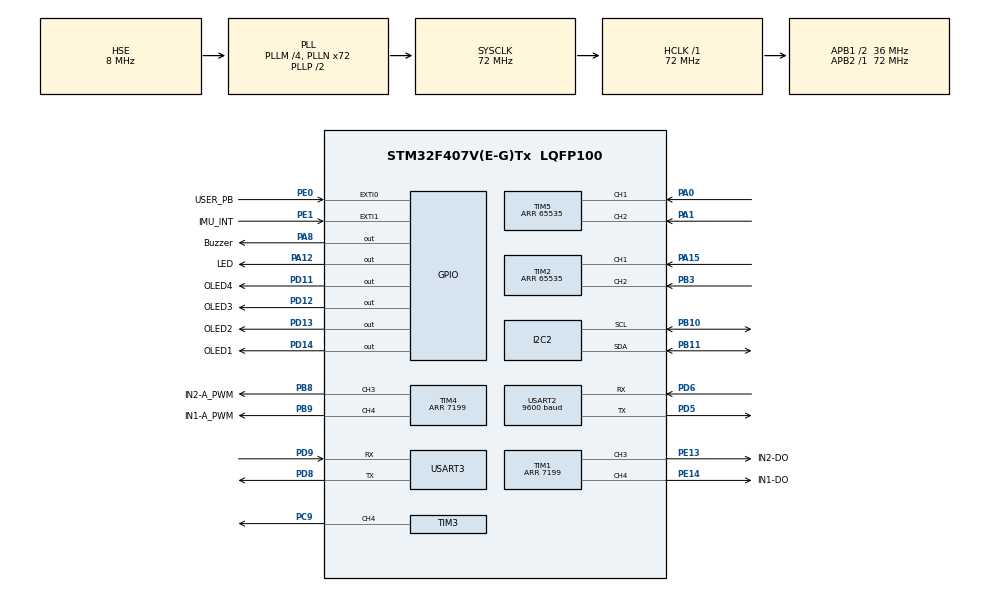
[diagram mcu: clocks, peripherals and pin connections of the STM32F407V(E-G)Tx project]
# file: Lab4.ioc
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Mcu.Family=STM32F4
Mcu.Name=STM32F407V(E-G)Tx
Mcu.Package=LQFP100
NVIC.EXTI0_IRQn=true\:0\:0\:false\:false\:true\:true\:true\:true
NVIC.EXTI1_IRQn=true\:0\:0\:false\:false\:true\:true\:true\:true
NVIC.PriorityGroup=NVIC_PRIORITYGROUP_4
NVIC.RCC_IRQn=true\:0\:0\:false\:false\:true\:true\:false\:true
NVIC.TIM2_IRQn=true\:0\:0\:false\:false\:true\:true\:true\:true
NVIC.USART2_IRQn=true\:0\:0\:false\:false\:true\:true\:true\:true
PA0-WKUP.Signal=S_TIM5_CH1
PA1.Signal=S_TIM5_CH2
PA12.GPIO_Label=LED
PA12.Signal=GPIO_Output
PA13.Mode=Serial_Wire
PA13.Signal=SYS_JTMS-SWDIO
PA14.Mode=Serial_Wire
PA14.Signal=SYS_JTCK-SWCLK
PA15.Signal=S_TIM2_CH1_ETR
PA8.GPIO_Label=Buzzer
PA8.Signal=GPIO_Output
PB10.Mode=I2C
PB10.Signal=I2C2_SCL
PB11.Mode=I2C
PB11.Signal=I2C2_SDA
PB3.Signal=S_TIM2_CH2
PB8.GPIO_Label=IN2-A_PWM
PB8.Signal=S_TIM4_CH3
PB9.GPIO_Label=IN1-A_PWM
PB9.Signal=S_TIM4_CH4
PC9.Signal=S_TIM3_CH4
PD11.GPIO_Label=OLED4
PD11.Signal=GPIO_Output
PD12.GPIO_Label=OLED3
PD12.Signal=GPIO_Output
PD13.GPIO_Label=OLED2
PD13.Signal=GPIO_Output
PD14.GPIO_Label=OLED1
PD14.Signal=GPIO_Output
PD5.Mode=Asynchronous
PD5.Signal=USART2_TX
PD6.Mode=Asynchronous
PD6.Signal=USART2_RX
PD8.Mode=Asynchronous
PD8.Signal=USART3_TX
PD9.Mode=Asynchronous
PD9.Signal=USART3_RX
PE0.GPIO_Label=USER_PB
PE0.Signal=GPXTI0
PE1.GPIO_Label=IMU_INT
PE1.Signal=GPXTI1
PE11.GPIO_Label=IN1-CO
PE11.Signal=S_TIM1_CH2
PE13.GPIO_Label=IN2-DO
PE13.Signal=S_TIM1_CH3
PE14.GPIO_Label=IN1-DO
PE14.Signal=S_TIM1_CH4
PE9.GPIO_Label=IN2-CO
PE9.Signal=S_TIM1_CH1
PH0-OSC_IN.Mode=HSE-External-Oscillator
PH0-OSC_IN.Signal=RCC_OSC_IN
PH1-OSC_OUT.Mode=HSE-External-Oscillator
PH1-OSC_OUT.Signal=RCC_OSC_OUT
ProjectManager.HeapSize=0x200
ProjectManager.StackSize=0x400
ProjectManager.TargetToolchain=STM32CubeIDE
RCC.48MHZClocksFreq_Value=36000000
RCC.AHBFreq_Value=72000000
RCC.APB1CLKDivider=RCC_HCLK_DIV2
RCC.APB1Freq_Value=36000000
RCC.APB1TimFreq_Value=72000000
RCC.APB2Freq_Value=72000000
RCC.APB2TimFreq_Value=72000000
RCC.CortexFreq_Value=72000000
RCC.HCLKFreq_Value=72000000
RCC.HSE_VALUE=8000000
RCC.HSI_VALUE=16000000
RCC.LSE_VALUE=32768
RCC.PLLM=4
RCC.PLLN=72
RCC.PLLSourceVirtual=RCC_PLLSOURCE_HSE
RCC.SYSCLKFreq_VALUE=72000000
RCC.SYSCLKSource=RCC_SYSCLKSOURCE_PLLCLK
RCC.VCOOutputFreq_Value=144000000
SH.S_TIM1_CH1.0=TIM1_CH1
SH.S_TIM1_CH2.0=TIM1_CH2
SH.S_TIM1_CH3.0=TIM1_CH3,PWM Generation3 CH3
SH.S_TIM1_CH4.0=TIM1_CH4,PWM Generation4 CH4
SH.S_TIM2_CH1_ETR.0=TIM2_CH1,Encoder_Interface
SH.S_TIM2_CH2.0=TIM2_CH2,Encoder_Interface
SH.S_TIM3_CH4.0=TIM3_CH4,PWM Generation4 CH4
SH.S_TIM4_CH3.0=TIM4_CH3,PWM Generation3 CH3
SH.S_TIM4_CH4.0=TIM4_CH4,PWM Generation4 CH4
SH.S_TIM5_CH1.0=TIM5_CH1,Encoder_Interface
SH.S_TIM5_CH2.0=TIM5_CH2,Encoder_Interface
TIM1.Channel-PWM\ Generation1\ No\ Output=TIM_CHANNEL_1
TIM1.Channel-PWM\ Generation2\ No\ Output=TIM_CHANNEL_2
TIM1.Channel-PWM\ Generation3\ CH3=TIM_CHANNEL_3
TIM1.Channel-PWM\ Generation4\ CH4=TIM_CHANNEL_4
TIM1.CounterMode=TIM_COUNTERMODE_UP
TIM1.OCPolarity_3=TIM_OCPOLARITY_LOW
TIM1.OCPolarity_4=TIM_OCPOLARITY_LOW
TIM1.Period=7199
TIM11.Channel=TIM_CHANNEL_1
TIM11.Period=7199
TIM2.AutoReloadPreload=TIM_AUTORELOAD_PRELOAD_DISABLE
TIM2.EncoderMode=TIM_ENCODERMODE_TI1
TIM2.IC1Filter=0
TIM2.IC1Polarity=TIM_ICPOLARITY_RISING
TIM2.IC2Filter=0
TIM2.IC2Polarity=TIM_ICPOLARITY_RISING
TIM2.Period=65535
TIM3.Channel-PWM\ Generation4\ CH4=TIM_CHANNEL_4
TIM3.Period=2000
TIM3.Prescaler=720
TIM4.Channel-PWM\ Generation3\ CH3=TIM_CHANNEL_3
TIM4.Channel-PWM\ Generation4\ CH4=TIM_CHANNEL_4
TIM4.CounterMode=TIM_COUNTERMODE_UP
TIM4.OCPolarity_3=TIM_OCPOLARITY_LOW
TIM4.OCPolarity_4=TIM_OCPOLARITY_LOW
TIM4.Period=7199
TIM5.IC1Filter=0
TIM5.IC1Polarity=TIM_ICPOLARITY_RISING
TIM5.IC2Filter=0
TIM5.IC2Polarity=TIM_ICPOLARITY_RISING
TIM5.Period=65535
TIM8.Period=7199
USART2.BaudRate=9600
USART2.VirtualMode=VM_ASYNC
USART3.VirtualMode=VM_ASYNC
VP_TIM11_VS_ClockSourceINT.Mode=Enable_Timer
VP_TIM11_VS_no_output1.Mode=PWM Generation1 No Output
VP_TIM1_VS_ClockSourceINT.Mode=Internal
VP_TIM1_VS_no_output1.Mode=PWM Generation1 No Output
VP_TIM1_VS_no_output2.Mode=PWM Generation2 No Output
VP_TIM3_VS_ClockSourceINT.Mode=Internal
VP_TIM4_VS_ClockSourceINT.Mode=Internal
VP_TIM8_VS_ClockSourceINT.Mode=Internal
board=custom

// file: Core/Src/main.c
/* USER CODE BEGIN Header */
/**
  ******************************************************************************
  * @file           : main.c for Lab 4 (for Ver D STM32F board)
  * @brief          : Main program body
  ******************************************************************************
  * @attention
  *
  * Copyright (c) 2022 STMicroelectronics.
  * All rights reserved.
  *
  * This software is licensed under terms that can be found in the LICENSE file
  * in the root directory of this software component.
  * If no LICENSE file comes with this software, it is provided AS-IS.
  *
  ******************************************************************************
  */
/* USER CODE END Header */
#include "main.h"

/* USER CODE BEGIN Includes */
#include "oled.h"
//#include "ICM20948.h"
//#include <math.h>
/* USER CODE END Includes */

 I2C_HandleTypeDef hi2c2;

TIM_HandleTypeDef htim1;
TIM_HandleTypeDef htim2;
TIM_HandleTypeDef htim3;
TIM_HandleTypeDef htim4;
TIM_HandleTypeDef htim5;
TIM_HandleTypeDef htim8;
TIM_HandleTypeDef htim11;

UART_HandleTypeDef huart2;
UART_HandleTypeDef huart3;

/* USER CODE BEGIN PV */
#include "oled.h"
#include <math.h>

/* USER CODE END PV */

void SystemClock_Config(void);
static void MX_GPIO_Init(void);
static void MX_TIM8_Init(void);
static void MX_TIM2_Init(void);
static void MX_USART2_UART_Init(void);
static void MX_TIM1_Init(void);
static void MX_USART3_UART_Init(void);
static void MX_I2C2_Init(void);
static void MX_TIM5_Init(void);
static void MX_TIM4_Init(void);
static void MX_TIM3_Init(void);
static void MX_TIM11_Init(void);

/* USER CODE BEGIN 0 */

uint32_t counter = 0;    // Timer 2 counter
int16_t count = 0;       // Convert counter to signed value
int16_t no_of_tick = 50; // number of tick used in SysTick to calculate speed, in msec
int16_t speed =0;        // speed in term of number of edges detected per Systick
int16_t rpm = 0;         // speed in rpm number of count/sec * 60 sec  divide by 260 count per round
int start=0;             // use to start stop the motor
int32_t pwmVal=0;       //pwm value to control motor speed
int32_t pwmVal_raw=0;   //pwm value before clamping - for debugging
int16_t pwmMax = (7200-200); // Maximum PWM value = 7200 keep the maximum value to 7000
int16_t pwmMin = 250;    // offset value to compensate for deadzone
int err; // status for checking return

char buf[20];      //buffer for displaying values on OLED display
int encoder_A = 0; // encoders reading of Drive A (from complement of TIM2->CNT)
int encoder_D = 0; // encoders reading of Drive D (from TIM5->CNT)

int16_t position = 0;     // position of the motor (1 rotation = 260 count)
extern int16_t oldpos;    // // see SysTick_Handler in stm32f4xx_it.c
int16_t angle = 0;        // angle of rotation, in degree resolution = 360 degree/260 tick
int16_t target_angle = 0; // target angle of rotation,
int16_t position_target;  // target position
int16_t direction;        // motor direction 0 or 1
int16_t error;            // error between target and actual
int32_t error_area = 0;   // area under error - to calculate I for PI implementation
int32_t error_old, error_change, error_rate; // to calculate D for PID control
int32_t millisOld, millisNow, dt; // to calculate I and D for PID control

int16_t Kp = 0;  // Initial PID values
int16_t Kd = 0;
float_t Ki = 0;

void HAL_TIM_IC_CaptureCallback(TIM_HandleTypeDef *htim){
	counter = __HAL_TIM_GET_COUNTER(htim);
	count = (int16_t)counter;
	position = count/2;  // x2 encoding
	angle = count/2; // x2 encoding
}

void HAL_GPIO_EXTI_Callback( uint16_t GPIO_Pin ) {
     // see EXTI0_IRQHandler() in stm32f4xx_it.c for interrupt
	if ( GPIO_Pin == USER_PB_Pin) {
		// toggle LED
		HAL_GPIO_TogglePin(GPIOA, GPIO_PIN_12); // LED - A12
		if (start == 0){
			start = 1;
		    // reset all value to Zero
		    TIM2->CNT = 0; // Timer Counter Value
		    speed = 0;
		    position = 0;  // see SysTick_Handler in stm32f4xx_it.c
		    oldpos = 0; // see SysTick_Handler in stm32f4xx_it.c
		    angle = 0;
		    pwmVal = 0;
		    }
		else
			start = 0;
 	    }
}

void MotorDrive_enable(void) {
	  //Enable PWM through TIM4-CH1/CH4 to drive the DC motor - Rev D board
	  HAL_TIM_PWM_Start(&htim4, TIM_CHANNEL_3);  // on Motor drive A interface
	  HAL_TIM_PWM_Start(&htim4, TIM_CHANNEL_4);  // on Motor drive A interface
	  HAL_TIM_PWM_Start(&htim1, TIM_CHANNEL_3);  // on Motor drive D interface
	  HAL_TIM_PWM_Start(&htim1, TIM_CHANNEL_4);  // on Motor drive D interface
}

void Motor_stop(void) {
		//Set both IN1 and IN2 pins = '1'
		__HAL_TIM_SetCompare(&htim4,TIM_CHANNEL_3,0);
		__HAL_TIM_SetCompare(&htim4,TIM_CHANNEL_4,0);
		__HAL_TIM_SetCompare(&htim1,TIM_CHANNEL_3,0);
		__HAL_TIM_SetCompare(&htim1,TIM_CHANNEL_4,0);
}

void Motor_direction(uint8_t forward) {
	if (forward){// move forward
		__HAL_TIM_SetCompare(&htim4,TIM_CHANNEL_3,0); // set IN1 to maximum PWM (7199) for '1'
		__HAL_TIM_SetCompare(&htim1,TIM_CHANNEL_3,0); // set IN1 to maximum PWM (7199) for '1' for Drive D
	  }
	else { // reverse
		__HAL_TIM_SetCompare(&htim4,TIM_CHANNEL_4,0); // set IN2 to maximum PWM (7199) for '1'
		__HAL_TIM_SetCompare(&htim1,TIM_CHANNEL_4,0); // set IN2 to maximum PWM (7199) for '1' for Drive D
	}
}

void Motor_forward(int  pwmVal){
	 // rotate motor in clockwise forward send the values to serial port for display
	 Motor_direction(1); //forward
	 __HAL_TIM_SetCompare(&htim4,TIM_CHANNEL_4,pwmVal); // output PWM waveform to drive motor A
	 __HAL_TIM_SetCompare(&htim1,TIM_CHANNEL_4,pwmVal); // output PWM waveform to drive motor D - for debugging

    sprintf(buf, "PWM = %4dF ", pwmVal);
    OLED_ShowString(0, 20, buf);
    //OLED_Refresh_Gram();
}

void Motor_reverse(int  pwmVal){
	 // move robot forward send the values to serial port for display
	 Motor_direction(0); //reverse
	 __HAL_TIM_SetCompare(&htim4,TIM_CHANNEL_3,pwmVal); // output PWM waveform to drive motor A
	 __HAL_TIM_SetCompare(&htim1,TIM_CHANNEL_3,pwmVal); // output PWM waveform to drive motor D - for debugging

    sprintf(buf, "PWM = %4dR ", pwmVal);
    OLED_ShowString(0, 20, buf);
    //OLED_Refresh_Gram();
}

int16_t PID_Control(){
	  //Control Loop
	  if (abs(error)>2){ //more than 2 degree difference
		  //HAL_GPIO_TogglePin(GPIOB, GPIO_PIN_10); //Buzzer
    	  angle = (int)(position*360/265);  // supposed to be 260 ticks/rev, measured = 265
  	      error = target_angle - angle;

  	    sprintf(buf, "error = %5d, ", (int)error);
  	    HAL_UART_Transmit(&huart2, buf, 14, HAL_MAX_DELAY); // Send through BT @9600
  	    sprintf(buf, " Kp = %5d, ", Kp);
  	   	HAL_UART_Transmit(&huart2, buf, 14, HAL_MAX_DELAY); // Send through BT @9600

        if (error > 0)
      	  direction = 0; //forward
        else
      	  direction = 1; //reverse direction

        millisNow = HAL_GetTick();
        dt = (millisNow - millisOld); // time elapsed in millisecond
        millisOld = millisNow; // store the current time for next round

        error_area = error_area + error*dt; // area under error for Ki

        error_change = error - error_old; // change in error
  	    error_old = error; //store the error for next round
        error_rate = (error_change)*1000/dt; // for Kd - dt in millsecond

		pwmVal = (int)(error*Kp + error_area*Ki/10000);  // PI, D is below
		pwmVal_raw = (int)(error*Kp); // for debugging

		// Adjust pwmVal to account for deadzone
		if (pwmVal>0)
			pwmVal = pwmVal+pwmMin;
		if (pwmVal<0)
			pwmVal = pwmVal-pwmMin;

		if (pwmVal > pwmMax)  // Clamp the PWM to its maximum positive value
		   pwmVal = pwmMax;

		pwmVal = (int)(pwmVal + error_rate*Kd);  // + D which is subtration

		if (pwmVal < -pwmMax)  // Clamp the PWM to its minimum negative value
		   pwmVal = -pwmMax;

		sprintf(buf, " Praw = %6d, ", pwmVal_raw);
		HAL_UART_Transmit(&huart2, buf, 17, HAL_MAX_DELAY); // Send through BT @9600

		sprintf(buf, " Pwm = %6d ", pwmVal);
		HAL_UART_Transmit(&huart2, buf, 17, HAL_MAX_DELAY); // Send through BT @9600

		buf[0] = '\r';
		buf[1] = '\n';  // move to next line on serial port
		HAL_UART_Transmit(&huart2, buf, 2, HAL_MAX_DELAY); // Send through USB port

		return(pwmVal);
	    } // if loop
}

void serial_uart(){
	 // send various values to serial port @ usart 3 for display
		  angle = (int)(position*360/265); //Hall Sensor = 26 poles/13 pulses, DC motor = 20x13 = 260 pulses per revolution
		                                   // measured value = 265 pulses per revolution
		  sprintf(buf, "%5d", angle);
	      OLED_ShowString(60, 10, buf);
	      //also send to serial port
	      HAL_UART_Transmit(&huart3, buf, 5, HAL_MAX_DELAY); // Send to Uart3 USB port

	      buf[0]=',';  // comma separator
	      HAL_UART_Transmit(&huart3, buf, 1, HAL_MAX_DELAY); // Send to Uart3 USB port

	      sprintf(buf, "%5d", target_angle);
	   	  HAL_UART_Transmit(&huart3, buf, 5, HAL_MAX_DELAY); // Send to Uart3 USB port

	   	  buf[0]=',';
	   	  HAL_UART_Transmit(&huart3, buf, 1, HAL_MAX_DELAY); // Send to Uart3 USB port

	   	  sprintf(buf, "%5d", error);
	   	  HAL_UART_Transmit(&huart3, buf, 5, HAL_MAX_DELAY); // Send to Uart3 USB port

	   	  buf[0]=',';
	      HAL_UART_Transmit(&huart3, buf, 1, HAL_MAX_DELAY); // Send to Uart3 USB port

	      sprintf(buf, "%5d", pwmVal);
	      HAL_UART_Transmit(&huart3, buf, 5, HAL_MAX_DELAY); // Send to Uart3 USB port
	      OLED_ShowString(40, 20, buf);

	   	  buf[0]=',';
	   	  HAL_UART_Transmit(&huart3, buf, 1, HAL_MAX_DELAY); // Send to Uart3 USB port

	   	  sprintf(buf, "%5d", error_area);
	   	  HAL_UART_Transmit(&huart3, buf, 5, HAL_MAX_DELAY); // Send to Uart3 USB port

	   	  buf[0]=',';
	   	  HAL_UART_Transmit(&huart3, buf, 1, HAL_MAX_DELAY); // Send to Uart3 USB port

	   	  sprintf(buf, "%5d", error_change);
	   	  HAL_UART_Transmit(&huart3, buf, 5, HAL_MAX_DELAY); // Send to Uart3 USB port

	   	  buf[0]=',';
	   	  HAL_UART_Transmit(&huart3, buf, 1, HAL_MAX_DELAY); // Send to Uart3 USB port

	   	  sprintf(buf, "%5d", error_rate);
	   	  HAL_UART_Transmit(&huart3, buf, 5, HAL_MAX_DELAY); // Send to Uart3 USB port

	      buf[0]=',';
	   	  HAL_UART_Transmit(&huart3, buf, 1, HAL_MAX_DELAY); // Send to Uart3 USB port

	  	  sprintf(buf, "%4d ", speed);  // RPM speed of the DC motor
	   	  HAL_UART_Transmit(&huart3, buf, 5, HAL_MAX_DELAY); // Send to Uart3 USB port
	  	  OLED_ShowString(40, 30, buf);
	      OLED_Refresh_Gram();

	   	  buf[0] = '\r';
	   	  buf[1] = '\n';  // move to next line on serial port
	   	  HAL_UART_Transmit(&huart3, buf, 2, HAL_MAX_DELAY); // Send through USB port
}

/* USER CODE END 0 */

int main(void)
{
  /* USER CODE BEGIN 1 */
  uint8_t *oled_buf; // buffer to store value to be display on OLED
  uint8_t i, status; // status for checking return

  /* USER CODE END 1 */

  /* MCU Configuration--------------------------------------------------------*/

  /* Reset of all peripherals, Initializes the Flash interface and the Systick. */
  HAL_Init();

  /* Configure the system clock */
  SystemClock_Config();

  /* Initialize all configured peripherals */
  MX_GPIO_Init();
  MX_TIM8_Init();
  MX_TIM2_Init();
  MX_USART2_UART_Init();
  MX_TIM1_Init();
  MX_USART3_UART_Init();
  MX_I2C2_Init();
  MX_TIM5_Init();
  MX_TIM4_Init();
  MX_TIM3_Init();
  MX_TIM11_Init();
  /* USER CODE BEGIN 2 */

  MotorDrive_enable(); // enable PWM needed to drive MotroDrive A and D

  // start TIM2/TIM5-Encoder to read Motor rotation in interrupt mode
  // Hall sensors produce 13 ticks/counts per turn, gear ratio = 20
  // 260 count per rotation of output (wheel)
  // 360 degree = 260 ticks/counts
  HAL_TIM_Encoder_Start_IT(&htim2, TIM_CHANNEL_ALL); // Motor Drive A
  HAL_TIM_Encoder_Start_IT(&htim5, TIM_CHANNEL_ALL); // Motor Drive D
  rpm = (int)((1000/no_of_tick) * 60/260 * 1/dt);  // For calculating motor rpm - by multiplying it with speed value

  OLED_Init();
  OLED_ShowString(10, 5, "SC2104/CE3002"); // show message on OLED display at line 5)
  OLED_ShowString(40, 30, "Lab 4"); // show message on OLED display at line 30)
  oled_buf = "Motor Control"; // anther way to show message through buffer
  OLED_ShowString(10,50, oled_buf); //another message at line 50

  uint8_t sbuf[] = "SC2104\n\r";  // send to serial port
  HAL_UART_Transmit(&huart3, sbuf, sizeof(sbuf), HAL_MAX_DELAY); // Send through Serial Port @115200
  HAL_UART_Transmit(&huart2, sbuf, sizeof(sbuf), HAL_MAX_DELAY); // Send through BT @9600

  OLED_Refresh_Gram();
  HAL_Delay(3000); // pause for 3 second to show message
  OLED_Clear(); // get display ready

  /* USER CODE END 2 */

  /* Infinite loop */
  /* USER CODE BEGIN WHILE */

  start = 0;
  angle = 0;
  target_angle = 1000; // rotate 1000 degree
  error = target_angle - angle;
  error_old = 0;
  error_area = 0;

  // motor drive here
  OLED_Clear();
  OLED_ShowString(0, 0, "Target: ");
  OLED_ShowString(0, 10, "Rotated: ");
  OLED_ShowString(0, 30, "RPM = ");
  sprintf(buf, "%4d", target_angle);//Hall Sensor = 26 poles/13 pulses, DC motor = 20x13 = 260 pulse per revolution
  OLED_ShowString(60, 0, buf);

  OLED_ShowString(15, 40, "Press User"); // show message on OLED display at line 40)
  OLED_ShowString(0, 50, "button to stop"); // show message on OLED display at line 50)
  OLED_Refresh_Gram();
  //kp2 ki 2 kd 1
  //how fast the wheel spins at startup (transient response rise time and settling time)
  //Kp = 5or6or7or8or9 (7)
  //Better response kp=7 ki=1 kd=2
  Kp = 7;   // range: 1 to 10	(proportional term: how quickly to turn steering)

  //ki =0 adjustment is jigglish, very sudden, ki =3, the adjustment is smoother, smaller (gentler)
  //ki works to improve steady-state response (reduce steady state error)
  //Ki = 1; //ideal
  Ki = 3;   // range 0 to 3			(integral term: adds steering action if error persists,

  //kd = 3, little changes to the adjustment speed, kd = 1, adjustment speed reduces when it nears the target angle
  //kd use to improve transient response by predicting error in future (reduce overshoot)
  //Kd = 2; //ideal
  Kd = 1;   // range: 0 to 3	(derivative term: limit speed, if p is alr ok, this will serve to reduce speed of steering when error is changing rapidly)

  //best kp~4/5 depending on how fast u want the transient and rise time
  //best ki~1  small adjustments, not big angles, feels like it adjusts its angle according to difference
  //best kd ~1 slow adjustments, speed of adjustment is smooth
  //maybe ki=1 is best because if ki=3, adjustment is too slow and the error accumlates then more adjustments seen

  if (target_angle > 0)  // Determine rotation direction)
     direction = 0;
  else
	 direction = 1;

  start = 1; // do a step response upon reset and power up
  MotorDrive_enable(); // enable PWM needed to drive MotroDrive A and D
  millisOld = HAL_GetTick(); // get time value before starting - for PID

  while (1){
  	  if (start==0){ // reset and wait for the User PB to be pressed
  		  Motor_stop();
      	  HAL_GPIO_TogglePin(GPIOE, GPIO_PIN_10); // LED
      	  OLED_ShowString(15, 40, "Press User"); // show message on OLED display at line 40)
      	  OLED_ShowString(0, 50, "button to start"); // show message on OLED display at line 50)
      	  OLED_Refresh_Gram();
      	  err = 0;// for checking whether error has settle down near to zero
      	  angle = 0;
      	  error_old = 0;
      	  error_area = 0;
      	  error = target_angle - angle;
  	      }
  	  while (start==0){ //wait for the User PB to be pressed
      	  HAL_Delay(500);
      	  millisOld = HAL_GetTick(); // get time value before starting - for PID
  		  }

  	  pwmVal = PID_Control(); // call the PID control loop calculation

  	  //pwmVal = 1000;          // this will overwrite PID control above
  	  //error = 5;              // to overwrite control loop checking

  	  //pwmVal 250  > RPM = 0
  	  //pwmVal 260 >  RPM = 1
  	  //pwmVal 270  > RPM = 2
  	  //pwmVal 300  > RPM 2
  	  //pwmVal 1000 > RPM = 10
  	  //pwmVal 3000 > RPM = 36
  	  //pwmVal 5000 > RPM ~ 60
  	  //pwmVal 6000 > RPM ~ 75

  	  if (direction == 0)
  		  Motor_reverse(pwmVal);
  	  else
  		  Motor_forward(pwmVal);

  	  if (abs(error) <= 3){ // error is not more than 3 deg - assume steady state
  	      err++; // to keep track how long it has reached steady state
  	      angle = (int)(position*360/260);  //calculate the angle
  	      error = target_angle - angle; // calculate the error
  	      }

  	  serial_uart(); // send the various data to the serial port for display

      if (err > 5) { // error has settled to within the acceptance ranges
         Motor_stop();

         for (i=0; i<50; i++)
     	    serial_uart();

     	 start = 0;  // wait for PB to restart
  		 HAL_GPIO_TogglePin(GPIOB, GPIO_PIN_10); //Buzzer On
     	 HAL_Delay(500);
  		 HAL_GPIO_TogglePin(GPIOB, GPIO_PIN_10); //Buzzer Off
         }//if

      OLED_ShowString(15, 40, "Press User"); // show message on OLED display at line 40)
      OLED_ShowString(0, 50, "button to stop "); // show message on OLED display at line 50)
      OLED_Refresh_Gram();

    /* USER CODE END WHILE */

    /* USER CODE BEGIN 3 */
    } // while

  /* USER CODE END 3 */
}

void SystemClock_Config(void)
{
  RCC_OscInitTypeDef RCC_OscInitStruct = {0};
  RCC_ClkInitTypeDef RCC_ClkInitStruct = {0};

  /** Configure the main internal regulator output voltage
  */
  __HAL_RCC_PWR_CLK_ENABLE();
  __HAL_PWR_VOLTAGESCALING_CONFIG(PWR_REGULATOR_VOLTAGE_SCALE1);

  /** Initializes the RCC Oscillators according to the specified parameters
  * in the RCC_OscInitTypeDef structure.
  */
  RCC_OscInitStruct.OscillatorType = RCC_OSCILLATORTYPE_HSE;
  RCC_OscInitStruct.HSEState = RCC_HSE_ON;
  RCC_OscInitStruct.PLL.PLLState = RCC_PLL_ON;
  RCC_OscInitStruct.PLL.PLLSource = RCC_PLLSOURCE_HSE;
  RCC_OscInitStruct.PLL.PLLM = 4;
  RCC_OscInitStruct.PLL.PLLN = 72;
  RCC_OscInitStruct.PLL.PLLP = RCC_PLLP_DIV2;
  RCC_OscInitStruct.PLL.PLLQ = 4;
  if (HAL_RCC_OscConfig(&RCC_OscInitStruct) != HAL_OK)
  {
    Error_Handler();
  }

  /** Initializes the CPU, AHB and APB buses clocks
  */
  RCC_ClkInitStruct.ClockType = RCC_CLOCKTYPE_HCLK|RCC_CLOCKTYPE_SYSCLK
                              |RCC_CLOCKTYPE_PCLK1|RCC_CLOCKTYPE_PCLK2;
  RCC_ClkInitStruct.SYSCLKSource = RCC_SYSCLKSOURCE_PLLCLK;
  RCC_ClkInitStruct.AHBCLKDivider = RCC_SYSCLK_DIV1;
  RCC_ClkInitStruct.APB1CLKDivider = RCC_HCLK_DIV2;
  RCC_ClkInitStruct.APB2CLKDivider = RCC_HCLK_DIV1;

  if (HAL_RCC_ClockConfig(&RCC_ClkInitStruct, FLASH_LATENCY_2) != HAL_OK)
  {
    Error_Handler();
  }
}

static void MX_I2C2_Init(void)
{

  hi2c2.Instance = I2C2;
  hi2c2.Init.ClockSpeed = 100000;
  hi2c2.Init.DutyCycle = I2C_DUTYCYCLE_2;
  hi2c2.Init.OwnAddress1 = 0;
  hi2c2.Init.AddressingMode = I2C_ADDRESSINGMODE_7BIT;
  hi2c2.Init.DualAddressMode = I2C_DUALADDRESS_DISABLE;
  hi2c2.Init.OwnAddress2 = 0;
  hi2c2.Init.GeneralCallMode = I2C_GENERALCALL_DISABLE;
  hi2c2.Init.NoStretchMode = I2C_NOSTRETCH_DISABLE;
  if (HAL_I2C_Init(&hi2c2) != HAL_OK)
  {
    Error_Handler();
  }

}

static void MX_TIM1_Init(void)
{

  TIM_ClockConfigTypeDef sClockSourceConfig = {0};
  TIM_MasterConfigTypeDef sMasterConfig = {0};
  TIM_OC_InitTypeDef sConfigOC = {0};
  TIM_BreakDeadTimeConfigTypeDef sBreakDeadTimeConfig = {0};

  htim1.Instance = TIM1;
  htim1.Init.Prescaler = 0;
  htim1.Init.CounterMode = TIM_COUNTERMODE_UP;
  htim1.Init.Period = 7199;
  htim1.Init.ClockDivision = TIM_CLOCKDIVISION_DIV1;
  htim1.Init.RepetitionCounter = 0;
  htim1.Init.AutoReloadPreload = TIM_AUTORELOAD_PRELOAD_DISABLE;
  if (HAL_TIM_Base_Init(&htim1) != HAL_OK)
  {
    Error_Handler();
  }
  sClockSourceConfig.ClockSource = TIM_CLOCKSOURCE_INTERNAL;
  if (HAL_TIM_ConfigClockSource(&htim1, &sClockSourceConfig) != HAL_OK)
  {
    Error_Handler();
  }
  if (HAL_TIM_PWM_Init(&htim1) != HAL_OK)
  {
    Error_Handler();
  }
  sMasterConfig.MasterOutputTrigger = TIM_TRGO_RESET;
  sMasterConfig.MasterSlaveMode = TIM_MASTERSLAVEMODE_DISABLE;
  if (HAL_TIMEx_MasterConfigSynchronization(&htim1, &sMasterConfig) != HAL_OK)
  {
    Error_Handler();
  }
  sConfigOC.OCMode = TIM_OCMODE_PWM1;
  sConfigOC.Pulse = 0;
  sConfigOC.OCPolarity = TIM_OCPOLARITY_HIGH;
  sConfigOC.OCNPolarity = TIM_OCNPOLARITY_HIGH;
  sConfigOC.OCFastMode = TIM_OCFAST_DISABLE;
  sConfigOC.OCIdleState = TIM_OCIDLESTATE_RESET;
  sConfigOC.OCNIdleState = TIM_OCNIDLESTATE_RESET;
  if (HAL_TIM_PWM_ConfigChannel(&htim1, &sConfigOC, TIM_CHANNEL_1) != HAL_OK)
  {
    Error_Handler();
  }
  if (HAL_TIM_PWM_ConfigChannel(&htim1, &sConfigOC, TIM_CHANNEL_2) != HAL_OK)
  {
    Error_Handler();
  }
  sConfigOC.OCPolarity = TIM_OCPOLARITY_LOW;
  if (HAL_TIM_PWM_ConfigChannel(&htim1, &sConfigOC, TIM_CHANNEL_3) != HAL_OK)
  {
    Error_Handler();
  }
  if (HAL_TIM_PWM_ConfigChannel(&htim1, &sConfigOC, TIM_CHANNEL_4) != HAL_OK)
  {
    Error_Handler();
  }
  sBreakDeadTimeConfig.OffStateRunMode = TIM_OSSR_DISABLE;
  sBreakDeadTimeConfig.OffStateIDLEMode = TIM_OSSI_DISABLE;
  sBreakDeadTimeConfig.LockLevel = TIM_LOCKLEVEL_OFF;
  sBreakDeadTimeConfig.DeadTime = 0;
  sBreakDeadTimeConfig.BreakState = TIM_BREAK_DISABLE;
  sBreakDeadTimeConfig.BreakPolarity = TIM_BREAKPOLARITY_HIGH;
  sBreakDeadTimeConfig.AutomaticOutput = TIM_AUTOMATICOUTPUT_DISABLE;
  if (HAL_TIMEx_ConfigBreakDeadTime(&htim1, &sBreakDeadTimeConfig) != HAL_OK)
  {
    Error_Handler();
  }
  HAL_TIM_MspPostInit(&htim1);

}

static void MX_TIM2_Init(void)
{

  TIM_Encoder_InitTypeDef sConfig = {0};
  TIM_MasterConfigTypeDef sMasterConfig = {0};

  htim2.Instance = TIM2;
  htim2.Init.Prescaler = 0;
  htim2.Init.CounterMode = TIM_COUNTERMODE_UP;
  htim2.Init.Period = 65535;
  htim2.Init.ClockDivision = TIM_CLOCKDIVISION_DIV1;
  htim2.Init.AutoReloadPreload = TIM_AUTORELOAD_PRELOAD_DISABLE;
  sConfig.EncoderMode = TIM_ENCODERMODE_TI1;
  sConfig.IC1Polarity = TIM_ICPOLARITY_RISING;
  sConfig.IC1Selection = TIM_ICSELECTION_DIRECTTI;
  sConfig.IC1Prescaler = TIM_ICPSC_DIV1;
  sConfig.IC1Filter = 0;
  sConfig.IC2Polarity = TIM_ICPOLARITY_RISING;
  sConfig.IC2Selection = TIM_ICSELECTION_DIRECTTI;
  sConfig.IC2Prescaler = TIM_ICPSC_DIV1;
  sConfig.IC2Filter = 0;
  if (HAL_TIM_Encoder_Init(&htim2, &sConfig) != HAL_OK)
  {
    Error_Handler();
  }
  sMasterConfig.MasterOutputTrigger = TIM_TRGO_RESET;
  sMasterConfig.MasterSlaveMode = TIM_MASTERSLAVEMODE_DISABLE;
  if (HAL_TIMEx_MasterConfigSynchronization(&htim2, &sMasterConfig) != HAL_OK)
  {
    Error_Handler();
  }

}

static void MX_TIM3_Init(void)
{

  TIM_ClockConfigTypeDef sClockSourceConfig = {0};
  TIM_MasterConfigTypeDef sMasterConfig = {0};
  TIM_OC_InitTypeDef sConfigOC = {0};

  htim3.Instance = TIM3;
  htim3.Init.Prescaler = 720;
  htim3.Init.CounterMode = TIM_COUNTERMODE_UP;
  htim3.Init.Period = 2000;
  htim3.Init.ClockDivision = TIM_CLOCKDIVISION_DIV1;
  htim3.Init.AutoReloadPreload = TIM_AUTORELOAD_PRELOAD_DISABLE;
  if (HAL_TIM_Base_Init(&htim3) != HAL_OK)
  {
    Error_Handler();
  }
  sClockSourceConfig.ClockSource = TIM_CLOCKSOURCE_INTERNAL;
  if (HAL_TIM_ConfigClockSource(&htim3, &sClockSourceConfig) != HAL_OK)
  {
    Error_Handler();
  }
  if (HAL_TIM_PWM_Init(&htim3) != HAL_OK)
  {
    Error_Handler();
  }
  sMasterConfig.MasterOutputTrigger = TIM_TRGO_RESET;
  sMasterConfig.MasterSlaveMode = TIM_MASTERSLAVEMODE_DISABLE;
  if (HAL_TIMEx_MasterConfigSynchronization(&htim3, &sMasterConfig) != HAL_OK)
  {
    Error_Handler();
  }
  sConfigOC.OCMode = TIM_OCMODE_PWM1;
  sConfigOC.Pulse = 0;
  sConfigOC.OCPolarity = TIM_OCPOLARITY_HIGH;
  sConfigOC.OCFastMode = TIM_OCFAST_DISABLE;
  if (HAL_TIM_PWM_ConfigChannel(&htim3, &sConfigOC, TIM_CHANNEL_4) != HAL_OK)
  {
    Error_Handler();
  }
  HAL_TIM_MspPostInit(&htim3);

}

static void MX_TIM4_Init(void)
{

  TIM_ClockConfigTypeDef sClockSourceConfig = {0};
  TIM_MasterConfigTypeDef sMasterConfig = {0};
  TIM_OC_InitTypeDef sConfigOC = {0};

  htim4.Instance = TIM4;
  htim4.Init.Prescaler = 0;
  htim4.Init.CounterMode = TIM_COUNTERMODE_UP;
  htim4.Init.Period = 7199;
  htim4.Init.ClockDivision = TIM_CLOCKDIVISION_DIV1;
  htim4.Init.AutoReloadPreload = TIM_AUTORELOAD_PRELOAD_DISABLE;
  if (HAL_TIM_Base_Init(&htim4) != HAL_OK)
  {
    Error_Handler();
  }
  sClockSourceConfig.ClockSource = TIM_CLOCKSOURCE_INTERNAL;
  if (HAL_TIM_ConfigClockSource(&htim4, &sClockSourceConfig) != HAL_OK)
  {
    Error_Handler();
  }
  if (HAL_TIM_PWM_Init(&htim4) != HAL_OK)
  {
    Error_Handler();
  }
  sMasterConfig.MasterOutputTrigger = TIM_TRGO_RESET;
  sMasterConfig.MasterSlaveMode = TIM_MASTERSLAVEMODE_DISABLE;
  if (HAL_TIMEx_MasterConfigSynchronization(&htim4, &sMasterConfig) != HAL_OK)
  {
    Error_Handler();
  }
  sConfigOC.OCMode = TIM_OCMODE_PWM1;
  sConfigOC.Pulse = 0;
  sConfigOC.OCPolarity = TIM_OCPOLARITY_LOW;
  sConfigOC.OCFastMode = TIM_OCFAST_DISABLE;
  if (HAL_TIM_PWM_ConfigChannel(&htim4, &sConfigOC, TIM_CHANNEL_3) != HAL_OK)
  {
    Error_Handler();
  }
  if (HAL_TIM_PWM_ConfigChannel(&htim4, &sConfigOC, TIM_CHANNEL_4) != HAL_OK)
  {
    Error_Handler();
  }
  HAL_TIM_MspPostInit(&htim4);

}

static void MX_TIM5_Init(void)
{

  TIM_Encoder_InitTypeDef sConfig = {0};
  TIM_MasterConfigTypeDef sMasterConfig = {0};

  htim5.Instance = TIM5;
  htim5.Init.Prescaler = 0;
  htim5.Init.CounterMode = TIM_COUNTERMODE_UP;
  htim5.Init.Period = 65535;
  htim5.Init.ClockDivision = TIM_CLOCKDIVISION_DIV1;
  htim5.Init.AutoReloadPreload = TIM_AUTORELOAD_PRELOAD_DISABLE;
  sConfig.EncoderMode = TIM_ENCODERMODE_TI1;
  sConfig.IC1Polarity = TIM_ICPOLARITY_RISING;
  sConfig.IC1Selection = TIM_ICSELECTION_DIRECTTI;
  sConfig.IC1Prescaler = TIM_ICPSC_DIV1;
  sConfig.IC1Filter = 0;
  sConfig.IC2Polarity = TIM_ICPOLARITY_RISING;
  sConfig.IC2Selection = TIM_ICSELECTION_DIRECTTI;
  sConfig.IC2Prescaler = TIM_ICPSC_DIV1;
  sConfig.IC2Filter = 0;
  if (HAL_TIM_Encoder_Init(&htim5, &sConfig) != HAL_OK)
  {
    Error_Handler();
  }
  sMasterConfig.MasterOutputTrigger = TIM_TRGO_RESET;
  sMasterConfig.MasterSlaveMode = TIM_MASTERSLAVEMODE_DISABLE;
  if (HAL_TIMEx_MasterConfigSynchronization(&htim5, &sMasterConfig) != HAL_OK)
  {
    Error_Handler();
  }

}

static void MX_TIM8_Init(void)
{

  TIM_ClockConfigTypeDef sClockSourceConfig = {0};
  TIM_MasterConfigTypeDef sMasterConfig = {0};

  htim8.Instance = TIM8;
  htim8.Init.Prescaler = 0;
  htim8.Init.CounterMode = TIM_COUNTERMODE_UP;
  htim8.Init.Period = 7199;
  htim8.Init.ClockDivision = TIM_CLOCKDIVISION_DIV1;
  htim8.Init.RepetitionCounter = 0;
  htim8.Init.AutoReloadPreload = TIM_AUTORELOAD_PRELOAD_DISABLE;
  if (HAL_TIM_Base_Init(&htim8) != HAL_OK)
  {
    Error_Handler();
  }
  sClockSourceConfig.ClockSource = TIM_CLOCKSOURCE_INTERNAL;
  if (HAL_TIM_ConfigClockSource(&htim8, &sClockSourceConfig) != HAL_OK)
  {
    Error_Handler();
  }
  sMasterConfig.MasterOutputTrigger = TIM_TRGO_RESET;
  sMasterConfig.MasterSlaveMode = TIM_MASTERSLAVEMODE_DISABLE;
  if (HAL_TIMEx_MasterConfigSynchronization(&htim8, &sMasterConfig) != HAL_OK)
  {
    Error_Handler();
  }

}

static void MX_TIM11_Init(void)
{

  TIM_OC_InitTypeDef sConfigOC = {0};

  htim11.Instance = TIM11;
  htim11.Init.Prescaler = 0;
  htim11.Init.CounterMode = TIM_COUNTERMODE_UP;
  htim11.Init.Period = 7199;
  htim11.Init.ClockDivision = TIM_CLOCKDIVISION_DIV1;
  htim11.Init.AutoReloadPreload = TIM_AUTORELOAD_PRELOAD_DISABLE;
  if (HAL_TIM_Base_Init(&htim11) != HAL_OK)
  {
    Error_Handler();
  }
  if (HAL_TIM_PWM_Init(&htim11) != HAL_OK)
  {
    Error_Handler();
  }
  sConfigOC.OCMode = TIM_OCMODE_PWM1;
  sConfigOC.Pulse = 0;
  sConfigOC.OCPolarity = TIM_OCPOLARITY_HIGH;
  sConfigOC.OCFastMode = TIM_OCFAST_DISABLE;
  if (HAL_TIM_PWM_ConfigChannel(&htim11, &sConfigOC, TIM_CHANNEL_1) != HAL_OK)
  {
    Error_Handler();
  }

}

static void MX_USART2_UART_Init(void)
{

  huart2.Instance = USART2;
  huart2.Init.BaudRate = 9600;
  huart2.Init.WordLength = UART_WORDLENGTH_8B;
  huart2.Init.StopBits = UART_STOPBITS_1;
  huart2.Init.Parity = UART_PARITY_NONE;
  huart2.Init.Mode = UART_MODE_TX_RX;
  huart2.Init.HwFlowCtl = UART_HWCONTROL_NONE;
  huart2.Init.OverSampling = UART_OVERSAMPLING_16;
  if (HAL_UART_Init(&huart2) != HAL_OK)
  {
    Error_Handler();
  }

}

static void MX_USART3_UART_Init(void)
{

  huart3.Instance = USART3;
  huart3.Init.BaudRate = 115200;
  huart3.Init.WordLength = UART_WORDLENGTH_8B;
  huart3.Init.StopBits = UART_STOPBITS_1;
  huart3.Init.Parity = UART_PARITY_NONE;
  huart3.Init.Mode = UART_MODE_TX_RX;
  huart3.Init.HwFlowCtl = UART_HWCONTROL_NONE;
  huart3.Init.OverSampling = UART_OVERSAMPLING_16;
  if (HAL_UART_Init(&huart3) != HAL_OK)
  {
    Error_Handler();
  }

}

static void MX_GPIO_Init(void)
{
  GPIO_InitTypeDef GPIO_InitStruct = {0};

  /* GPIO Ports Clock Enable */
  __HAL_RCC_GPIOH_CLK_ENABLE();
  __HAL_RCC_GPIOA_CLK_ENABLE();
  __HAL_RCC_GPIOE_CLK_ENABLE();
  __HAL_RCC_GPIOB_CLK_ENABLE();
  __HAL_RCC_GPIOD_CLK_ENABLE();
  __HAL_RCC_GPIOC_CLK_ENABLE();

  /*Configure GPIO pin Output Level */
  HAL_GPIO_WritePin(GPIOD, OLED4_Pin|OLED3_Pin|OLED2_Pin|OLED1_Pin, GPIO_PIN_RESET);

  /*Configure GPIO pin Output Level */
  HAL_GPIO_WritePin(GPIOA, Buzzer_Pin|LED_Pin, GPIO_PIN_RESET);

  /*Configure GPIO pins : OLED4_Pin OLED3_Pin OLED2_Pin OLED1_Pin */
  GPIO_InitStruct.Pin = OLED4_Pin|OLED3_Pin|OLED2_Pin|OLED1_Pin;
  GPIO_InitStruct.Mode = GPIO_MODE_OUTPUT_PP;
  GPIO_InitStruct.Pull = GPIO_NOPULL;
  GPIO_InitStruct.Speed = GPIO_SPEED_FREQ_LOW;
  HAL_GPIO_Init(GPIOD, &GPIO_InitStruct);

  /*Configure GPIO pins : Buzzer_Pin LED_Pin */
  GPIO_InitStruct.Pin = Buzzer_Pin|LED_Pin;
  GPIO_InitStruct.Mode = GPIO_MODE_OUTPUT_PP;
  GPIO_InitStruct.Pull = GPIO_NOPULL;
  GPIO_InitStruct.Speed = GPIO_SPEED_FREQ_LOW;
  HAL_GPIO_Init(GPIOA, &GPIO_InitStruct);

  /*Configure GPIO pins : USER_PB_Pin IMU_INT_Pin */
  GPIO_InitStruct.Pin = USER_PB_Pin|IMU_INT_Pin;
  GPIO_InitStruct.Mode = GPIO_MODE_IT_RISING;
  GPIO_InitStruct.Pull = GPIO_NOPULL;
  HAL_GPIO_Init(GPIOE, &GPIO_InitStruct);

  /* EXTI interrupt init*/
  HAL_NVIC_SetPriority(EXTI0_IRQn, 0, 0);
  HAL_NVIC_EnableIRQ(EXTI0_IRQn);

  HAL_NVIC_SetPriority(EXTI1_IRQn, 0, 0);
  HAL_NVIC_EnableIRQ(EXTI1_IRQn);

}

/* USER CODE BEGIN 4 */
/*
void OLED_show(void *argument, int y, int x) // display message on OLED panel
{
	//uint8_t hello[20]="Hello World";
	OLED_Init();
	OLED_Display_On();
//	OLED_ShowString(10,10,argument);
	OLED_ShowString(y, x, argument);
	OLED_Refresh_Gram();
}
*/

/* USER CODE END 4 */

void Error_Handler(void)
{
  __disable_irq();
  while (1)
  {
  }
}
